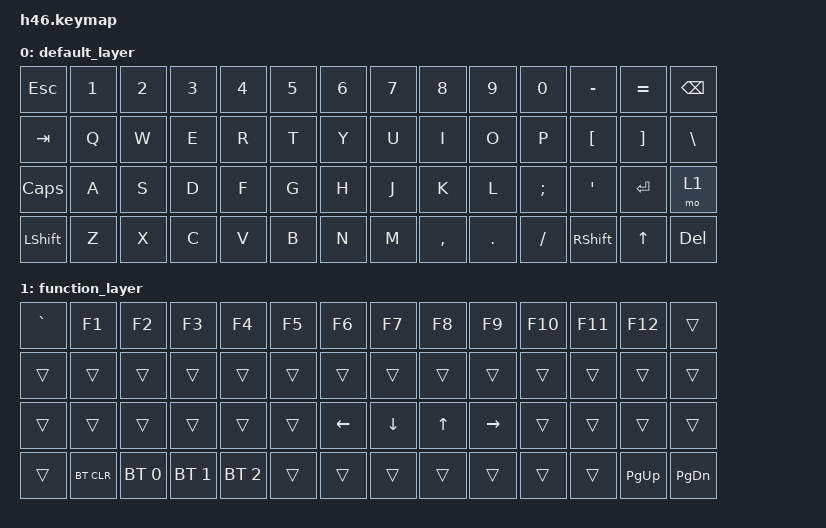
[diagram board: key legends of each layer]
/*
 * Copyright (c) 2025
 * SPDX-License-Identifier: MIT
 */

#include <behaviors.dtsi>
#include <dt-bindings/zmk/keys.h>
#include <dt-bindings/zmk/bt.h>

/ {
    keymap {
        compatible = "zmk,keymap";

        default_layer {
            bindings = <
                &kp ESC   &kp N1    &kp N2    &kp N3    &kp N4    &kp N5    &kp N6    &kp N7    &kp N8    &kp N9    &kp N0    &kp MINUS &kp EQUAL &kp BSPC
                &kp TAB   &kp Q     &kp W     &kp E     &kp R     &kp T     &kp Y     &kp U     &kp I     &kp O     &kp P     &kp LBKT  &kp RBKT  &kp BSLH
                &kp CAPS  &kp A     &kp S     &kp D     &kp F     &kp G     &kp H     &kp J     &kp K     &kp L     &kp SEMI  &kp SQT   &kp RET   &mo 1
                &kp LSHFT &kp Z     &kp X     &kp C     &kp V     &kp B     &kp N     &kp M     &kp COMMA &kp DOT   &kp FSLH  &kp RSHFT &kp UP    &kp DEL
            >;
        };

        function_layer {
            bindings = <
                &kp GRAVE &kp F1    &kp F2    &kp F3    &kp F4    &kp F5    &kp F6    &kp F7    &kp F8    &kp F9    &kp F10   &kp F11   &kp F12   &trans
                &trans    &trans    &trans    &trans    &trans    &trans    &trans    &trans    &trans    &trans    &trans    &trans    &trans    &trans
                &trans    &trans    &trans    &trans    &trans    &trans    &kp LEFT  &kp DOWN  &kp UP    &kp RIGHT &trans    &trans    &trans    &trans
                &trans    &bt BT_CLR &bt BT_SEL 0 &bt BT_SEL 1 &bt BT_SEL 2 &trans &trans &trans &trans &trans &trans &trans &kp PG_UP &kp PG_DN
            >;
        };
    };
};
